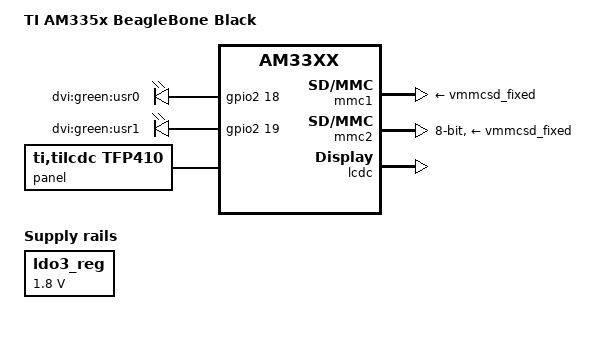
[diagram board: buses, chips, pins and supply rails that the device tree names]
/*
 * Copyright (C) 2012 Texas Instruments Incorporated - http://www.ti.com/
 *
 * This program is free software; you can redistribute it and/or modify
 * it under the terms of the GNU General Public License version 2 as
 * published by the Free Software Foundation.
 */
/dts-v1/;

#include "am33xx.dtsi"
#include "am335x-bone-common.dtsi"
#include <dt-bindings/display/tda998x.h>

/ {
	model = "TI AM335x BeagleBone Black";
	compatible = "ti,am335x-bone-black", "ti,am335x-bone", "ti,am33xx";
};

&ldo3_reg {
	regulator-min-microvolt = <1800000>;
	regulator-max-microvolt = <1800000>;
	regulator-always-on;
};

&mmc1 {
	vmmc-supply = <&vmmcsd_fixed>;
};

&mmc2 {
	vmmc-supply = <&vmmcsd_fixed>;
	pinctrl-names = "default";
	pinctrl-0 = <&emmc_pins>;
	bus-width = <8>;
	status = "okay";
};

&cpu0_opp_table {
	/*
	 * All PG 2.0 silicon may not support 1GHz but some of the early
	 * BeagleBone Blacks have PG 2.0 silicon which is guaranteed
	 * to support 1GHz OPP so enable it for PG 2.0 on this board.
	 */
	oppnitro@1000000000 {
		opp-supported-hw = <0x06 0x0100>;
	};
};

&am33xx_pinmux {
	bone_dvi_cape_led_pins: pinmux_bone_dvi_cape_led_pins {
		pinctrl-single,pins = <
			0x48 0x07	/* gpmc_a2.gpio1_18, OUTPUT | MODE7 */
			0x4c 0x07	/* gpmc_a3.gpio1_19, OUTPUT | MODE7 */
		>;
	};


	bone_dvi_cape_dvi_pins: bone_dvi_cape_dvi_pins {
		pinctrl-single,pins = <
			/*0x1c 0x07	/* gpmc_ad7.gpio1_7, OUTPUT | MODE7 - DVIPDn */

			AM33XX_IOPAD(0x8a0, PIN_OUTPUT | MUX_MODE0)		/* lcd_data0.lcd_data0 */
			AM33XX_IOPAD(0x8a4, PIN_OUTPUT | MUX_MODE0)		/* lcd_data1.lcd_data1 */
			AM33XX_IOPAD(0x8a8, PIN_OUTPUT | MUX_MODE0)		/* lcd_data2.lcd_data2 */
			AM33XX_IOPAD(0x8ac, PIN_OUTPUT | MUX_MODE0)		/* lcd_data3.lcd_data3 */
			AM33XX_IOPAD(0x8b0, PIN_OUTPUT | MUX_MODE0)		/* lcd_data4.lcd_data4 */
			AM33XX_IOPAD(0x8b4, PIN_OUTPUT | MUX_MODE0)		/* lcd_data5.lcd_data5 */
			AM33XX_IOPAD(0x8b8, PIN_OUTPUT | MUX_MODE0)		/* lcd_data6.lcd_data6 */
			AM33XX_IOPAD(0x8bc, PIN_OUTPUT | MUX_MODE0)		/* lcd_data7.lcd_data7 */
			AM33XX_IOPAD(0x8c0, PIN_OUTPUT | MUX_MODE0)		/* lcd_data8.lcd_data8 */
			AM33XX_IOPAD(0x8c4, PIN_OUTPUT | MUX_MODE0)		/* lcd_data9.lcd_data9 */
			AM33XX_IOPAD(0x8c8, PIN_OUTPUT | MUX_MODE0)		/* lcd_data10.lcd_data10 */
			AM33XX_IOPAD(0x8cc, PIN_OUTPUT | MUX_MODE0)		/* lcd_data11.lcd_data11 */
			AM33XX_IOPAD(0x8d0, PIN_OUTPUT | MUX_MODE0)		/* lcd_data12.lcd_data12 */
			AM33XX_IOPAD(0x8d4, PIN_OUTPUT | MUX_MODE0)		/* lcd_data13.lcd_data13 */
			AM33XX_IOPAD(0x8d8, PIN_OUTPUT | MUX_MODE0)		/* lcd_data14.lcd_data14 */
			AM33XX_IOPAD(0x8dc, PIN_OUTPUT | MUX_MODE0)		/* lcd_data15.lcd_data15 */
			AM33XX_IOPAD(0x8e0, PIN_OUTPUT_PULLDOWN | MUX_MODE0)	/* lcd_vsync.lcd_vsync */
			AM33XX_IOPAD(0x8e4, PIN_OUTPUT_PULLDOWN | MUX_MODE0)	/* lcd_hsync.lcd_hsync */
			AM33XX_IOPAD(0x8e8, PIN_OUTPUT_PULLDOWN | MUX_MODE0)	/* lcd_pclk.lcd_pclk */
			AM33XX_IOPAD(0x8ec, PIN_OUTPUT_PULLDOWN | MUX_MODE0)	/* lcd_ac_bias_en.lcd_ac_bias_en */
			>;
		};

	nxp_hdmi_bonelt_off_pins: nxp_hdmi_bonelt_off_pins {
		pinctrl-single,pins = <
			AM33XX_IOPAD(0x9b0, PIN_OUTPUT_PULLDOWN | MUX_MODE3)	/* xdma_event_intr0 */
		>;
	};

};

&lcdc {
	status = "okay";
};

&rtc {
	system-power-controller;
};

/ {
	gpio-leds-cape-dvi {
		compatible = "gpio-leds";
		pinctrl-names = "default";
		pinctrl-0 = <&bone_dvi_cape_led_pins>;

		dvi-led0 {
			label = "dvi:green:usr0";
			gpios = <&gpio2 18 0>;
			linux,default-trigger = "heartbeat";
			default-state = "off";
		};

		dvi-led1 {
			label = "dvi:green:usr1";
			gpios = <&gpio2 19 0>;
			linux,default-trigger = "mmc0";
			default-state = "off";
		};
	};

	/* use the DVI panel now */
	panel {
		compatible = "ti,tilcdc,tfp410";
		status = "okay";
		pinctrl-names = "default";
		pinctrl-0 = <&bone_dvi_cape_dvi_pins>;
		i2c = <&i2c2>;
	};
};
